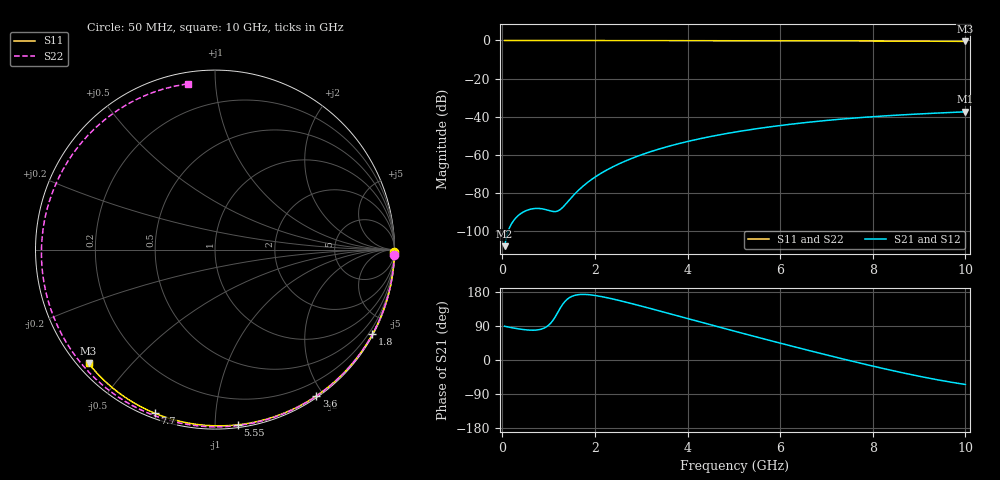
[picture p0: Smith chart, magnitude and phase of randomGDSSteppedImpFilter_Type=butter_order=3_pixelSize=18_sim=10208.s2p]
! freq	dB(S11)	phase(S11)	dB(S12)	phase(S12)
!  dB(S21)	phase(S21)	dB(S22)	phase(S22)
!S-par simulation data
#  GHz  S  DB  R 50
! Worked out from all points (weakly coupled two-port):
!   200 points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, 50 MHz to 10 GHz, reference 50 ohm
!   highest |S21| = -37.47 dB at 10 GHz (marker M1); lowest = -108.0 dB at 50 MHz (marker M2)
!   lowest |S11| = -0.5 dB at 10 GHz (marker M3), VSWR 37.07, Z = 1.55 - j19.2 ohm
!   |S11| at or under -10 dB: nowhere
!   |S22| runs from -0.6 to 0.0 dB; largest |S21 - S12| = 0
!   S11 on the Smith chart (normalised r, x): 50 MHz: open; 1.8 GHz: 0.03, -3.97; 3.6 GHz: 0.02, -1.91; 5.55 GHz: 0.02, -1.14; 7.7 GHz: 0.02, -0.70; 10 GHz: 0.03, -0.38
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0.05  -0.00 -0.8  -108.01 89.0  -108.01 89.0  -0.00 -1.7
0.4  -0.01 -6.4  -90.88 81.2  -90.88 81.2  -0.02 -13.1
0.75  -0.02 -11.9  -88.18 79.2  -88.18 79.2  -0.03 -24.4
1.55  -0.03 -24.4  -80.97 170.1  -80.97 170.1  -0.06 -49.6
1.6  -0.03 -25.2  -79.72 171.6  -79.72 171.6  -0.06 -51.1
1.75  -0.04 -27.5  -76.36 173.1  -76.36 173.1  -0.07 -55.7
1.8  -0.04 -28.3  -75.35 172.9  -75.35 172.9  -0.07 -57.2
2.1  -0.04 -32.9  -70.22 168.3  -70.22 168.3  -0.08 -66.0
2.45  -0.05 -38.2  -65.59 159.2  -65.59 159.2  -0.09 -76.1
2.9  -0.06 -45.0  -60.96 145.5  -60.96 145.5  -0.11 -88.5
3.4  -0.07 -52.4  -56.91 129.3  -56.91 129.3  -0.12 -101.8
3.6  -0.07 -55.3  -55.52 122.7  -55.52 122.7  -0.13 -106.9
4.3  -0.09 -65.3  -51.42 99.5  -51.42 99.5  -0.16 -124.2
5.05  -0.12 -75.7  -48.01 74.9  -48.01 74.9  -0.19 -141.9
5.55  -0.14 -82.5  -46.14 58.8  -46.14 58.8  -0.22 -153.3
6.15  -0.16 -90.4  -44.22 39.8  -44.22 39.8  -0.25 -166.8
6.7  -0.19 -97.5  -42.72 22.6  -42.72 22.6  -0.29 -179.1
7.2  -0.22 -103.9  -41.56 7.4  -41.56 7.4  -0.32 169.6
7.7  -0.25 -110.1  -40.56 -7.4  -40.56 -7.4  -0.36 158.1
8.35  -0.30 -118.1  -39.47 -25.9  -39.47 -25.9  -0.41 142.7
9.25  -0.39 -129.0  -38.29 -48.8  -38.29 -48.8  -0.49 119.9
10  -0.47 -138.0  -37.47 -64.6  -37.47 -64.6  -0.58 99.4
